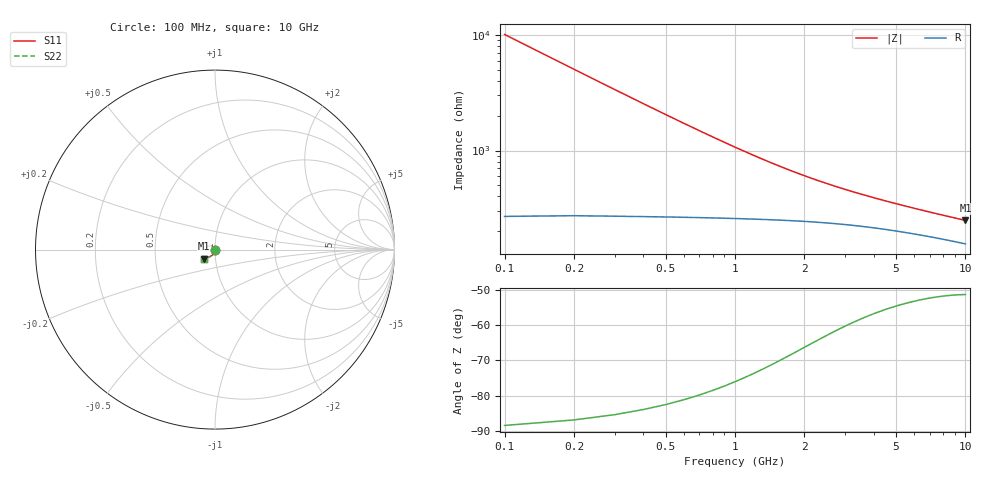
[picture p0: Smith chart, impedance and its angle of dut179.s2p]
! Touchstone file exported from HFSS 2024.1.0
!  File:  C:/UserFiles/LocalFiles/RDL_TSV_Batchsim/temp_TSV1_179_1778766499.aedt
!  Generated:  09:54:19 PM May 14, 2026
!  Design:  TSV1
!  Project:  temp_TSV1_179_1778766499
!  Setup:  Setup1
!  Solution:  Sweep
! Variables:
!  dtsv = 19.08um
!  hbump = 3um
!  htsv = 67.95um
!  lrdl = 252.1521522um
!  p = 40
!  p1 = 47um
!  t = 500um
!  trdl = 3um
!  wrdl = 24.89489489um
# GHz S MA R 50.000000
! Terminal data exported
! Port[1] = TSV22_T1
! Port[2] = TSV22_T2
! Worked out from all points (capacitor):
!   100 points, 100 MHz to 10 GHz, reference 50 ohm
!   read as one part in shunt: C = 157 fF near 100 MHz
!   lowest |Z| = 249 ohm at 10 GHz (marker M1)
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0.1  0.002228 -89.9  0.9999 -0.2  0.9999 -0.2  0.002228 -89.9
! Gamma 0 0 0 0
! Port Impedance 50 0 50 0
0.2  0.004474 -92.6  0.9996 -0.3  0.9996 -0.3  0.004474 -92.6
0.3  0.006699 -94.6  0.9993 -0.5  0.9993 -0.5  0.006699 -94.6
0.4  0.008897 -96.4  0.9988 -0.6  0.9988 -0.6  0.008897 -96.4
0.5  0.01106 -98.1  0.9982 -0.8  0.9982 -0.8  0.01106 -98.1
0.6  0.01318 -99.8  0.9975 -0.9  0.9975 -0.9  0.01318 -99.8
0.7  0.01526 -101.4  0.9967 -1.0  0.9967 -1.0  0.01526 -101.4
0.8  0.01729 -103.0  0.9958 -1.2  0.9958 -1.2  0.01729 -103.0
0.9  0.01926 -104.5  0.9949 -1.3  0.9949 -1.3  0.01926 -104.5
1.1  0.02302 -107.4  0.9929 -1.5  0.9929 -1.5  0.02302 -107.4
1.4  0.02819 -111.3  0.9896 -1.8  0.9896 -1.8  0.02819 -111.3
1.6  0.03133 -113.7  0.9873 -2.0  0.9873 -2.0  0.03133 -113.7
1.8  0.03423 -115.9  0.985 -2.2  0.985 -2.2  0.03423 -115.9
2.1  0.03818 -118.8  0.9816 -2.4  0.9816 -2.4  0.03818 -118.8
2.5  0.04277 -122.2  0.9774 -2.7  0.9774 -2.7  0.04277 -122.1
2.9  0.04674 -124.9  0.9735 -2.9  0.9735 -2.9  0.04674 -124.9
3.4  0.05103 -127.7  0.9692 -3.2  0.9692 -3.2  0.05103 -127.7
4.2  0.05677 -131.1  0.9632 -3.5  0.9632 -3.5  0.05677 -131.1
5.1  0.06212 -133.9  0.9576 -3.8  0.9576 -3.8  0.06212 -133.9
6.7  0.06975 -137.3  0.9497 -4.4  0.9497 -4.4  0.06975 -137.3
8.4  0.07612 -139.7  0.9433 -4.9  0.9433 -4.9  0.07613 -139.7
10  0.08105 -141.2  0.9384 -5.4  0.9384 -5.4  0.08105 -141.2
